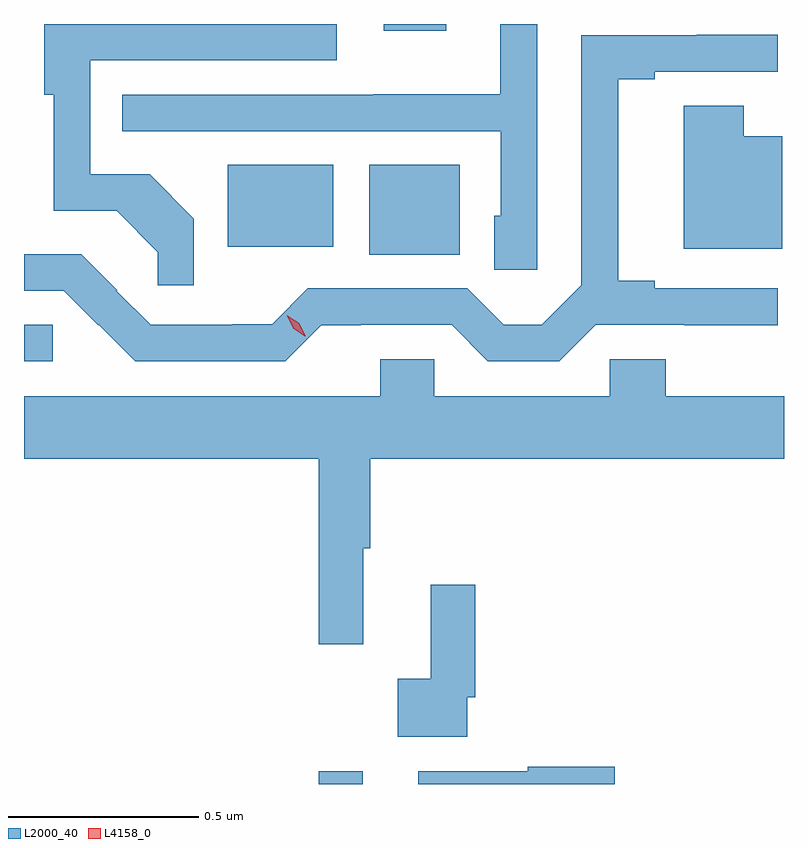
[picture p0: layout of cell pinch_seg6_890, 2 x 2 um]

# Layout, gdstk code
import gdstk
lib = gdstk.Library(unit=1e-6, precision=1e-09)
def R(c, l, rs):  # rectangles x0, y0, x1, y1
    for r in rs: c.add(gdstk.rectangle(r[:2], r[2:], *l))
def P(c, l, *ps):  # polygons
    for p in ps: c.add(gdstk.Polygon(p, *l))
L2000_40 = (2000, 40)
L4158_0 = (4158, 0)

pinch_seg6_890 = lib.new_cell('pinch_seg6_890')
R(pinch_seg6_890, L2000_40, [(170.707,974.452,170.824,974.485), (169.932,975.564,170.007,975.66), (170.84,975.845,171.079,976.081), (170.468,975.866,170.746,976.081), (170.879,976.434,171.043,976.452)])
P(pinch_seg6_890, L2000_40, [(170.379,975.94),(170.263,976.056),(170.106,976.056),(170.106,976.356),(170.755,976.356),(170.755,976.452),(169.985,976.452),(169.985,976.266),(170.01,976.266),(170.01,975.96),(170.176,975.96),(170.284,975.852),(170.284,975.765),(170.379,975.765)],
  [(171.282,976.452),(171.185,976.452),(171.185,976.267),(170.851,976.267),(170.851,976.266),(170.191,976.266),(170.191,976.17),(171.186,976.17),(171.186,975.948),(171.17,975.948),(171.17,975.805),(171.282,975.805)],
  [(170.714,975.659),(170.818,975.659),(170.818,975.66),(171.057,975.66),(171.153,975.564),(171.34,975.564),(171.436,975.66),(171.669,975.66),(171.669,975.659),(171.916,975.659),(171.916,975.756),(171.592,975.756),(171.592,975.776),(171.496,975.776),(171.496,976.306),(171.592,976.306),(171.592,976.326),(171.916,976.326),(171.916,976.424),(171.703,976.424),(171.703,976.422),(171.399,976.422),(171.399,975.765),(171.295,975.661),(171.194,975.661),(171.099,975.756),(170.679,975.756),(170.585,975.662),(170.48,975.662),(170.48,975.66),(170.265,975.66),(170.175,975.75),(170.177,975.752),(170.083,975.846),(169.932,975.846),(169.932,975.75),(170.037,975.75),(170.128,975.659),(170.129,975.66),(170.225,975.564),(170.619,975.564)],
  [(171.928,976.156),(171.826,976.156),(171.826,976.237),(171.668,976.237),(171.668,975.86),(171.928,975.86)],
  [(170.825,975.072),(170.843,975.072),(170.843,975.308),(171.932,975.308),(171.932,975.472),(171.621,975.472),(171.621,975.57),(171.474,975.57),(171.474,975.472),(171.012,975.472),(171.012,975.57),(170.87,975.57),(170.87,975.472),(169.932,975.472),(169.932,975.308),(170.707,975.308),(170.707,974.82),(170.825,974.82)],
  [(171.099,974.68),(171.119,974.68),(171.119,974.977),(171.002,974.977),(171.002,974.729),(170.916,974.729),(170.916,974.576),(171.099,974.576)],
  [(171.487,974.498),(171.258,974.498),(171.258,974.485),(170.969,974.485),(170.969,974.452),(171.487,974.452)])
P(pinch_seg6_890, L4158_0, [(170.671,975.63),(170.64,975.651),(170.624,975.685),(170.624,975.685),(170.624,975.685),(170.656,975.664),(170.672,975.631),(170.672,975.63)])

lib.write_gds('pinch_seg6_890.gds')
